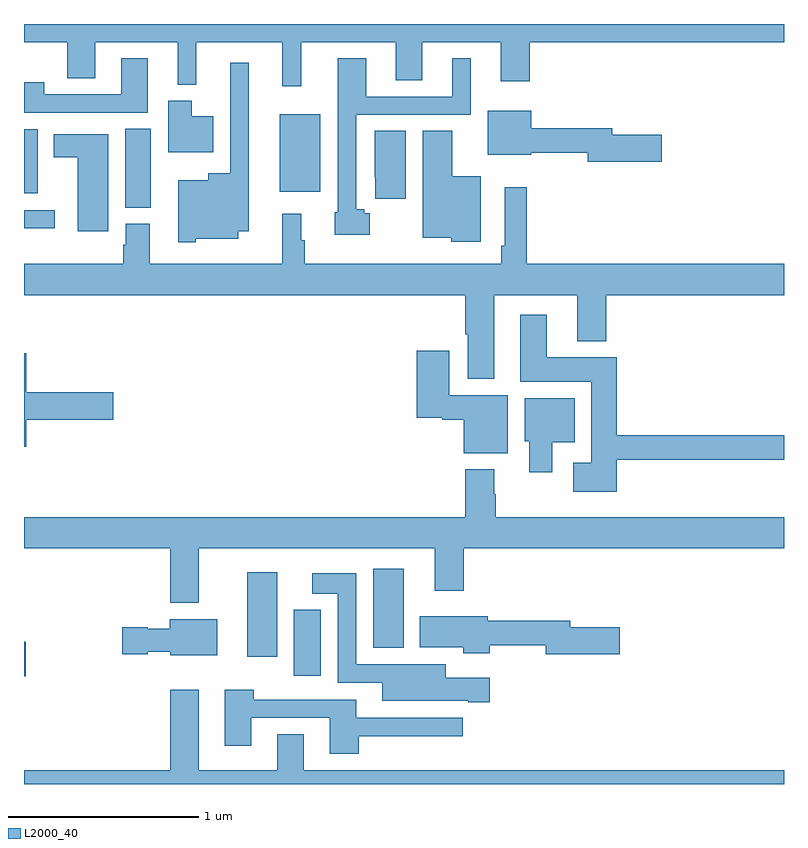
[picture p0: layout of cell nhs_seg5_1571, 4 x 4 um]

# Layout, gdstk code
import gdstk
lib = gdstk.Library(unit=1e-6, precision=1e-09)
def R(c, l, rs):  # rectangles x0, y0, x1, y1
    for r in rs: c.add(gdstk.rectangle(r[:2], r[2:], *l))
def P(c, l, *ps):  # polygons
    for p in ps: c.add(gdstk.Polygon(p, *l))
L2000_40 = (2000, 40)

nhs_seg5_1571 = lib.new_cell('nhs_seg5_1571')
R(nhs_seg5_1571, L2000_40, [(205,909.365,205.009,909.548), (206.42,909.369,206.563,909.715), (206.174,909.468,206.332,909.913), (206.837,909.515,206.998,909.931), (205,911.723,205.162,911.82), (205.532,911.833,205.666,912.248), (205,911.909,205.072,912.244), (206.345,911.915,206.56,912.325)])
P(nhs_seg5_1571, L2000_40, [(206.459,912.704),(206.957,912.704),(206.957,912.502),(207.097,912.502),(207.097,912.704),(207.509,912.704),(207.509,912.498),(207.662,912.498),(207.662,912.704),(209,912.704),(209,912.799),(205,912.799),(205,912.704),(205.228,912.704),(205.228,912.514),(205.375,912.514),(205.375,912.704),(205.808,912.704),(205.808,912.479),(205.907,912.479),(205.907,912.704),(206.36,912.704),(206.36,912.471),(206.459,912.471)],
  [(205.651,912.619),(205.511,912.619),(205.511,912.429),(205.107,912.429),(205.107,912.493),(205,912.493),(205,912.333),(205.651,912.333)],
  [(206.819,911.804),(206.79,911.804),(206.79,911.824),(206.748,911.824),(206.748,912.321),(207.352,912.321),(207.352,912.619),(207.254,912.619),(207.254,912.417),(206.8,912.417),(206.8,912.619),(206.652,912.619),(206.652,911.808),(206.636,911.808),(206.636,911.69),(206.819,911.69)],
  [(205.905,911.669),(206.128,911.669),(206.128,911.708),(206.182,911.708),(206.182,912.595),(206.085,912.595),(206.085,912.013),(205.97,912.013),(205.97,911.977),(205.811,911.977),(205.811,911.651),(205.905,911.651)],
  [(205.996,912.313),(205.882,912.313),(205.882,912.394),(205.76,912.394),(205.76,912.125),(205.996,912.125)],
  [(208.357,912.216),(208.096,912.216),(208.096,912.25),(207.67,912.25),(207.67,912.343),(207.44,912.343),(207.44,912.11),(207.67,912.11),(207.67,912.121),(207.968,912.121),(207.968,912.074),(208.357,912.074)],
  [(207.01,912.236),(206.846,912.236),(206.846,911.992),(206.849,911.992),(206.849,911.88),(207.01,911.88)],
  [(207.403,911.998),(207.253,911.998),(207.253,912.236),(207.098,912.236),(207.098,911.675),(207.249,911.675),(207.249,911.654),(207.403,911.654)],
  [(205.444,912.22),(205.157,912.22),(205.157,912.098),(205.283,912.098),(205.283,911.708),(205.444,911.708)],
  [(207.475,911.372),(207.911,911.372),(207.911,911.129),(208.064,911.129),(208.064,911.372),(209,911.372),(209,911.536),(207.647,911.536),(207.647,911.941),(207.531,911.941),(207.531,911.632),(207.511,911.632),(207.511,911.536),(206.477,911.536),(206.477,911.66),(206.458,911.66),(206.458,911.8),(206.359,911.8),(206.359,911.536),(205.663,911.536),(205.663,911.748),(205.535,911.748),(205.535,911.637),(205.523,911.637),(205.523,911.536),(205,911.536),(205,911.372),(207.323,911.372),(207.323,911.167),(207.335,911.167),(207.335,910.931),(207.475,910.931)],
  [(208.121,910.506),(209,910.506),(209,910.634),(208.121,910.634),(208.121,911.044),(207.751,911.044),(207.751,911.269),(207.611,911.269),(207.611,910.916),(207.986,910.916),(207.986,910.489),(207.891,910.489),(207.891,910.337),(208.121,910.337)],
  [(207.547,910.846),(207.238,910.846),(207.238,911.08),(207.068,911.08),(207.068,910.727),(207.201,910.727),(207.201,910.715),(207.314,910.715),(207.314,910.541),(207.547,910.541)],
  [(205.013,910.715),(205.471,910.715),(205.471,910.862),(205.013,910.862),(205.013,911.065),(205,911.065),(205,910.573),(205.013,910.573)],
  [(207.781,910.598),(207.898,910.598),(207.898,910.828),(207.635,910.828),(207.635,910.602),(207.659,910.602),(207.659,910.44),(207.781,910.44)],
  [(205.921,910.04),(207.161,910.04),(207.161,909.816),(207.314,909.816),(207.314,910.04),(209,910.04),(209,910.204),(207.483,910.204),(207.483,910.325),(207.475,910.325),(207.475,910.456),(207.323,910.456),(207.323,910.204),(205,910.204),(205,910.04),(205.769,910.04),(205.769,909.752),(205.921,909.752)],
  [(207.451,909.358),(207.22,909.358),(207.22,909.43),(206.994,909.43),(206.994,909.429),(206.748,909.429),(206.748,909.907),(206.517,909.907),(206.517,909.8),(206.652,909.8),(206.652,909.333),(206.885,909.333),(206.885,909.236),(207.338,909.236),(207.338,909.229),(207.451,909.229)],
  [(208.135,909.624),(207.874,909.624),(207.874,909.658),(207.442,909.658),(207.442,909.682),(207.083,909.682),(207.083,909.518),(207.313,909.518),(207.313,909.488),(207.45,909.488),(207.45,909.529),(207.746,909.529),(207.746,909.482),(208.135,909.482)],
  [(206.017,909.667),(205.766,909.667),(205.766,909.616),(205.65,909.616),(205.65,909.624),(205.518,909.624),(205.518,909.482),(205.65,909.482),(205.65,909.494),(205.77,909.494),(205.77,909.476),(206.017,909.476)],
  [(209,908.872),(206.473,908.872),(206.473,909.062),(206.333,909.062),(206.333,908.872),(205.921,908.872),(205.921,909.295),(205.769,909.295),(205.769,908.872),(205,908.872),(205,908.799),(209,908.799)],
  [(206.762,909.05),(207.31,909.05),(207.31,909.147),(206.749,909.147),(206.749,909.243),(206.21,909.243),(206.21,909.295),(206.057,909.295),(206.057,909),(206.197,909),(206.197,909.147),(206.609,909.147),(206.609,908.958),(206.762,908.958)])

lib.write_gds('nhs_seg5_1571.gds')
